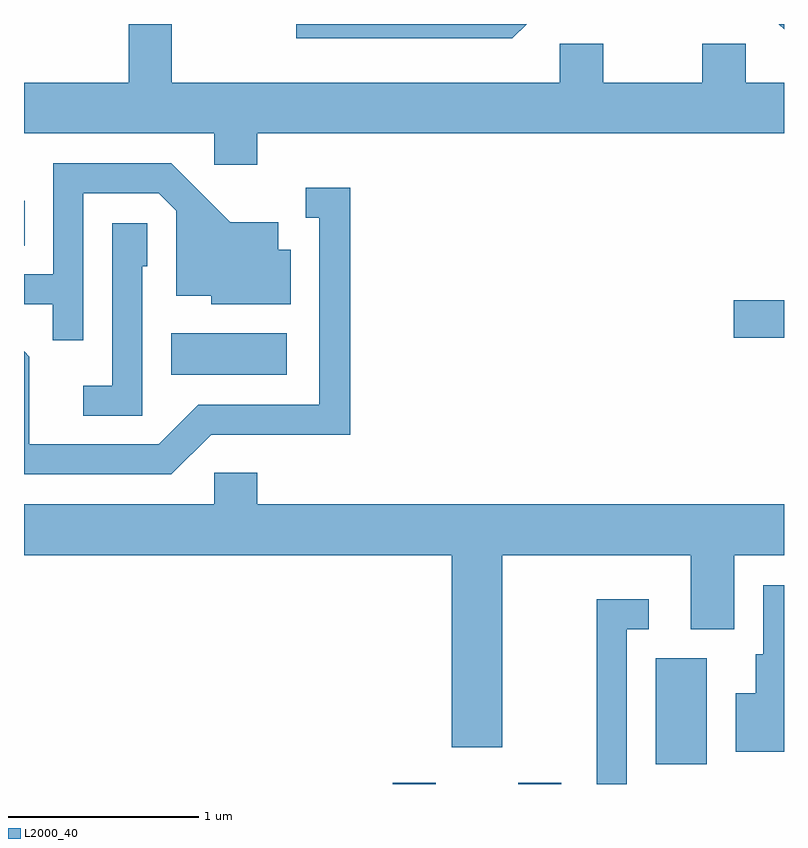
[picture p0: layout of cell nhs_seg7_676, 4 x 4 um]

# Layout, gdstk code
import gdstk
lib = gdstk.Library(unit=1e-6, precision=1e-09)
def R(c, l, rs):  # rectangles x0, y0, x1, y1
    for r in rs: c.add(gdstk.rectangle(r[:2], r[2:], *l))
def P(c, l, *ps):  # polygons
    for p in ps: c.add(gdstk.Polygon(p, *l))
L2000_40 = (2000, 40)

nhs_seg7_676 = lib.new_cell('nhs_seg7_676')
R(nhs_seg7_676, L2000_40, [(207.551,1684.252,207.779,1684.259), (208.211,1684.252,208.439,1684.259), (208.936,1684.356,209.204,1684.914), (206.386,1686.406,206.994,1686.624), (209.346,1686.601,209.611,1686.799), (205.611,1687.086,205.614,1687.323)])
P(nhs_seg7_676, L2000_40, [(206.839,1687.676),(209.611,1687.676),(209.611,1687.944),(209.409,1687.944),(209.409,1688.149),(209.181,1688.149),(209.181,1687.944),(208.659,1687.944),(208.659,1688.149),(208.431,1688.149),(208.431,1687.944),(206.389,1687.944),(206.389,1688.252),(206.161,1688.252),(206.161,1687.944),(205.611,1687.944),(205.611,1687.676),(206.611,1687.676),(206.611,1687.511),(206.839,1687.511)],
  [(209.611,1688.252),(209.583,1688.252),(209.611,1688.224)],
  [(208.258,1688.252),(207.043,1688.252),(207.043,1688.176),(208.182,1688.176)],
  [(205.924,1687.361),(206.319,1687.361),(206.411,1687.269),(206.411,1686.821),(206.596,1686.821),(206.596,1686.776),(207.014,1686.776),(207.014,1687.064),(206.949,1687.064),(206.949,1687.209),(206.697,1687.209),(206.387,1687.519),(205.766,1687.519),(205.766,1686.934),(205.611,1686.934),(205.611,1686.776),(205.761,1686.776),(205.761,1686.588),(205.924,1686.588)],
  [(206.597,1686.091),(207.329,1686.091),(207.329,1687.389),(207.093,1687.389),(207.093,1687.231),(207.166,1687.231),(207.166,1686.249),(206.529,1686.249),(206.319,1686.039),(205.639,1686.039),(205.639,1686.502),(205.611,1686.53),(205.611,1685.881),(206.387,1685.881)],
  [(206.234,1686.976),(206.259,1686.976),(206.259,1687.204),(206.076,1687.204),(206.076,1686.349),(205.923,1686.349),(205.923,1686.191),(206.234,1686.191)],
  [(208.129,1685.456),(209.121,1685.456),(209.121,1685.066),(209.349,1685.066),(209.349,1685.456),(209.611,1685.456),(209.611,1685.724),(206.839,1685.724),(206.839,1685.889),(206.611,1685.889),(206.611,1685.724),(205.611,1685.724),(205.611,1685.456),(207.861,1685.456),(207.861,1684.446),(208.129,1684.446)],
  [(209.611,1685.299),(209.501,1685.299),(209.501,1684.934),(209.461,1684.934),(209.461,1684.729),(209.356,1684.729),(209.356,1684.421),(209.611,1684.421)],
  [(208.784,1685.066),(208.898,1685.066),(208.898,1685.224),(208.626,1685.224),(208.626,1684.252),(208.784,1684.252)])

lib.write_gds('nhs_seg7_676.gds')
